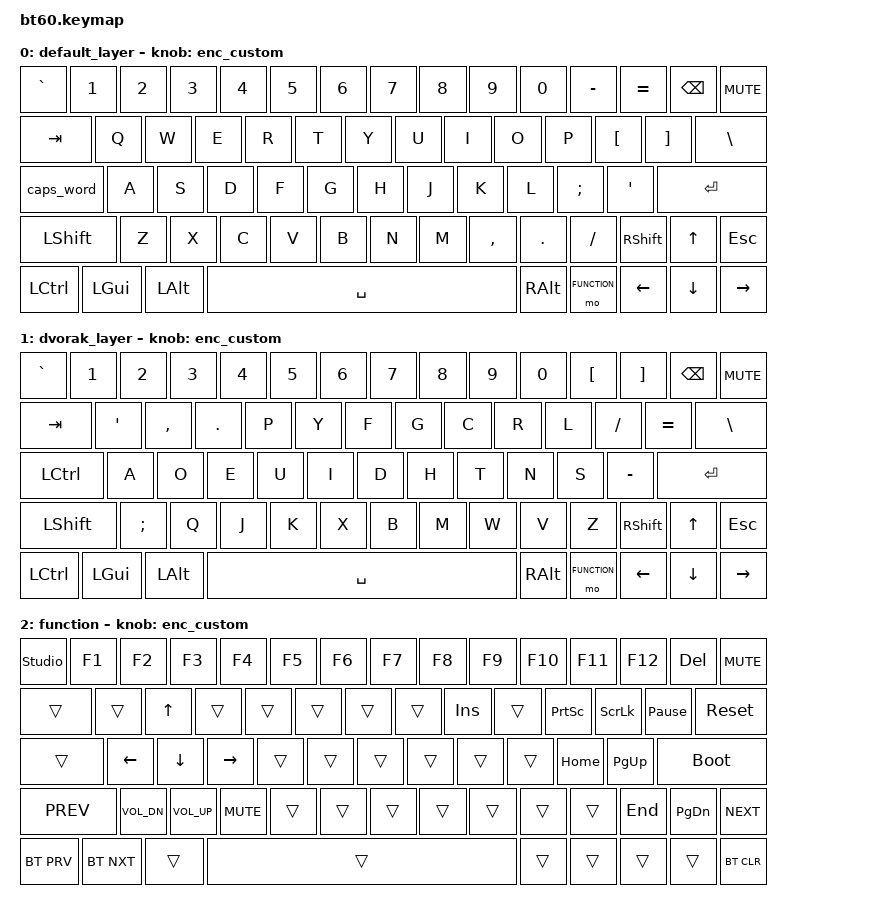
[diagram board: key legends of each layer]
#include <behaviors.dtsi>
#include <dt-bindings/zmk/keys.h>
#include <dt-bindings/zmk/bt.h>

#include "zmk-helpers/helper.h"
#include "key-labels.h"


#define BASE 0
#define DVORAK 1
#define FUNCTION 2

#include "includes/settings.dtsi"
#include "includes/macros.dtsi"
#include "includes/custom_behaviors.dtsi"
#include "includes/combos.dtsi"

/ {

	behaviors {
    enc_custom: enc_custom {
      compatible = "zmk,behavior-sensor-rotate";
      #sensor-binding-cells = <0>;

      /* CW, CCW */
      bindings =
        <&kp LS(LC(LA(UP)))>,
        <&kp LS(LC(LA(DOWN)))>;
		};
	};

	keymap {
		compatible = "zmk,keymap";

		default_layer {
				// ------------------------------------------------------------------------------------------
				// | ESC |  1  |  2  |  3  |  4  |  5  |  6  |  7  |  8  |  9  |  0  |  -  |  =  |   BKSP | encoder  |
				// | TAB  |  Q  |  W  |  E  |  R  |  T  |  Y  |  U  |  I  |  O  |  P  |  [  |  ]  |   "|"   |
				// | CAPS  |  A  |  S  |  D  |  F  |  G  |  H  |  J  |  K  |  L  |  ;  |  '  |     ENTER    |
				// |  SHIFT    |  Z  |  X  |  C  |  V  |  B  |  N  |  M  |  ,  |  .  | /   | SHFT | UP | 1  |
				// |  CTL  |  WIN  |  ALT  |            SPACE              | ALT | CTRL | LEFT | DOWN | RIGHT |
				// ------------------------------------------------------------------------------------------
			bindings = <
				&kp GRAVE &kp N1 &kp N2 &kp N3 &kp N4 &kp N5 &kp N6 &kp N7 &kp  N8   &kp  N9 &kp  N0  &kp MINUS &kp EQUAL &kp BSPC &kp C_MUTE
				&kp TAB  &kp Q  &kp W  &kp E  &kp R  &kp T  &kp Y  &kp U  &kp  I    &kp  O  &kp  P   &kp LBKT &kp RBKT  &kp BSLH
				&caps_word  &kp A  &kp S  &kp D  &kp F  &kp G  &kp H  &kp J  &kp  K    &kp  L  &kp SEMI &kp SQT           &kp RET
				&kp LSHFT  &kp Z  &kp X  &kp C  &kp V  &kp B  &kp N  &kp M  &kp COMMA &kp DOT &kp FSLH    &kp RSHFT &kp UP   &kp ESC
				&kp LCTRL &kp LEFT_GUI &kp LALT            &kp SPACE                          &kp RALT  &mo FUNCTION &kp LEFT &kp DOWN &kp RIGHT  
			>;
			sensor-bindings = <&enc_custom>;
		};

        dvorak_layer {
        	bindings = <
				&kp GRAVE &kp N1 &kp N2 &kp N3 &kp N4 &kp N5 &kp N6 &kp N7 &kp  N8   &kp  N9 &kp  N0  &kp LBKT &kp RBKT &kp BSPC &kp C_MUTE
				&kp TAB  &kp SQT  &kp COMMA &kp DOT  &kp P  &kp Y  &kp F  &kp G  &kp C    &kp R  &kp L   &kp FSLH &kp EQUAL  &kp BSLH
				&kp LCTRL  &kp A  &kp O  &kp E  &kp U  &kp I  &kp D  &kp H  &kp T    &kp N  &kp S &kp MINUS           &kp RET
				&kp LSHFT  &kp SEMI  &kp Q  &kp J  &kp K  &kp X  &kp B  &kp M  &kp W &kp V &kp Z    &kp RSHFT &kp UP   &kp ESC
				&kp LCTRL &kp LEFT_GUI &kp LALT            &kp SPACE                          &kp RALT  &mo FUNCTION &kp LEFT &kp DOWN &kp RIGHT  
			>;
			sensor-bindings = <&enc_custom>;
		};

		function {
			bindings = <
				&studio_unlock &kp F1 &kp F2 &kp F3 &kp F4 &kp F5 &kp F6 &kp F7 &kp  F8   &kp  F9 &kp  F10  &kp F11 &kp F12   &kp DEL &kp C_MUTE
				&trans &trans &kp UP &trans &trans &trans &trans &trans &kp INS &trans &kp PSCRN &kp SLCK &kp PAUSE_BREAK &sys_reset
				&trans    &kp LEFT &kp DOWN &kp RIGHT &trans &trans &trans &trans &trans &trans &kp HOME  &kp PG_UP   &bootloader
				&kp C_PREV &kp C_VOL_DN &kp C_VOL_UP &kp C_MUTE &trans &trans &trans &trans &trans &trans &trans &kp END &kp PG_DN  &kp C_NEXT
				&bt BT_PRV &bt BT_NXT  &trans              &trans                            &trans  &trans &trans   &trans &bt BT_CLR
			>;
			sensor-bindings = <&enc_custom>;
		};

		extra1 {
            status = "reserved";
        };

        extra2 {
            status = "reserved";
        };
	};
};
